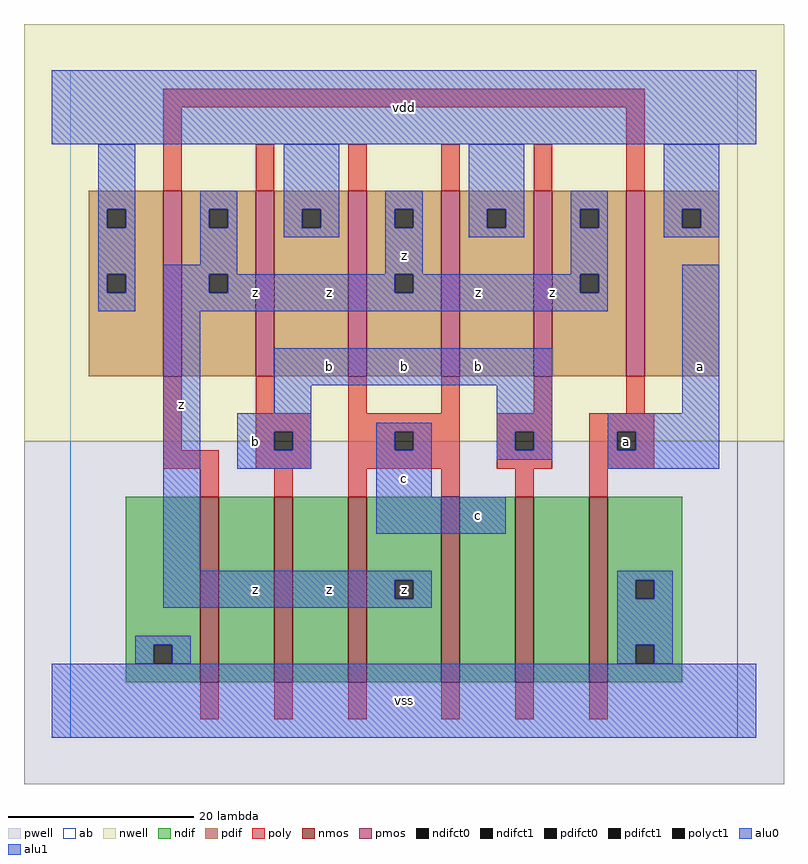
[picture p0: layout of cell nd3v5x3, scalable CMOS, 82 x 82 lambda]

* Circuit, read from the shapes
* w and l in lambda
.subckt nd3v5x3 a b c vdd vss z
M1 n1 a vss VSUBS nfet w=20 l=2
M2 n2 b n1 VSUBS nfet w=20 l=2
M3 z c n2 VSUBS nfet w=20 l=2
M4 n3 c z VSUBS nfet w=20 l=2
M5 n4 b n3 VSUBS nfet w=20 l=2
M6 vss a n4 VSUBS nfet w=20 l=2
M7 z a vdd n5 pfet w=20 l=2 m=2
M8 vdd b z n5 pfet w=20 l=2 m=2
M9 z c vdd n5 pfet w=20 l=2 m=2
.ends

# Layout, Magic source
magic
tech scmos
<< ab >>
rect 0 0 72 72
<< nwell >>
rect -5 32 77 77
<< pwell >>
rect -5 -5 77 32
<< poly >>
rect 10 68 62 70
rect 10 59 12 68
rect 20 59 22 64
rect 30 59 32 64
rect 40 59 42 64
rect 50 59 52 64
rect 60 59 62 68
rect 10 31 12 39
rect 20 35 22 39
rect 30 35 32 39
rect 40 35 42 39
rect 50 35 52 39
rect 60 35 62 39
rect 20 33 26 35
rect 20 31 22 33
rect 24 31 26 33
rect 10 29 16 31
rect 20 29 26 31
rect 30 33 42 35
rect 30 31 35 33
rect 37 31 42 33
rect 30 29 42 31
rect 46 33 52 35
rect 46 31 48 33
rect 50 31 52 33
rect 46 29 52 31
rect 56 33 63 35
rect 56 31 59 33
rect 61 31 63 33
rect 56 29 63 31
rect 14 26 16 29
rect 22 26 24 29
rect 30 26 32 29
rect 40 26 42 29
rect 48 26 50 29
rect 56 26 58 29
rect 14 2 16 6
rect 22 2 24 6
rect 30 2 32 6
rect 40 2 42 6
rect 48 2 50 6
rect 56 2 58 6
<< ndif >>
rect 6 10 14 26
rect 6 8 9 10
rect 11 8 14 10
rect 6 6 14 8
rect 16 6 22 26
rect 24 6 30 26
rect 32 17 40 26
rect 32 15 35 17
rect 37 15 40 17
rect 32 6 40 15
rect 42 6 48 26
rect 50 6 56 26
rect 58 17 66 26
rect 58 15 61 17
rect 63 15 66 17
rect 58 10 66 15
rect 58 8 61 10
rect 63 8 66 10
rect 58 6 66 8
<< pdif >>
rect 2 57 10 59
rect 2 55 4 57
rect 6 55 10 57
rect 2 50 10 55
rect 2 48 4 50
rect 6 48 10 50
rect 2 39 10 48
rect 12 57 20 59
rect 12 55 15 57
rect 17 55 20 57
rect 12 50 20 55
rect 12 48 15 50
rect 17 48 20 50
rect 12 39 20 48
rect 22 57 30 59
rect 22 55 25 57
rect 27 55 30 57
rect 22 39 30 55
rect 32 57 40 59
rect 32 55 35 57
rect 37 55 40 57
rect 32 50 40 55
rect 32 48 35 50
rect 37 48 40 50
rect 32 39 40 48
rect 42 57 50 59
rect 42 55 45 57
rect 47 55 50 57
rect 42 39 50 55
rect 52 57 60 59
rect 52 55 55 57
rect 57 55 60 57
rect 52 50 60 55
rect 52 48 55 50
rect 57 48 60 50
rect 52 39 60 48
rect 62 57 70 59
rect 62 55 66 57
rect 68 55 70 57
rect 62 39 70 55
<< alu1 >>
rect -2 64 74 72
rect 14 57 18 59
rect 14 55 15 57
rect 17 55 18 57
rect 14 51 18 55
rect 34 57 38 59
rect 34 55 35 57
rect 37 55 38 57
rect 10 50 18 51
rect 34 50 38 55
rect 54 57 58 59
rect 54 55 55 57
rect 57 55 58 57
rect 54 50 58 55
rect 10 48 15 50
rect 17 48 35 50
rect 37 48 55 50
rect 57 48 58 50
rect 10 46 58 48
rect 10 18 14 46
rect 22 38 52 42
rect 22 35 26 38
rect 18 33 26 35
rect 18 31 22 33
rect 24 31 26 33
rect 18 29 26 31
rect 33 33 39 34
rect 33 31 35 33
rect 37 31 39 33
rect 33 26 39 31
rect 46 33 52 38
rect 66 35 70 51
rect 46 31 48 33
rect 50 31 52 33
rect 46 30 52 31
rect 58 33 70 35
rect 58 31 59 33
rect 61 31 70 33
rect 58 29 70 31
rect 33 22 47 26
rect 10 17 39 18
rect 10 15 35 17
rect 37 15 39 17
rect 10 14 39 15
rect -2 0 74 8
<< nmos >>
rect 14 6 16 26
rect 22 6 24 26
rect 30 6 32 26
rect 40 6 42 26
rect 48 6 50 26
rect 56 6 58 26
<< pmos >>
rect 10 39 12 59
rect 20 39 22 59
rect 30 39 32 59
rect 40 39 42 59
rect 50 39 52 59
rect 60 39 62 59
<< polyct1 >>
rect 22 31 24 33
rect 35 31 37 33
rect 48 31 50 33
rect 59 31 61 33
<< ndifct0 >>
rect 9 8 11 10
rect 61 15 63 17
rect 61 8 63 10
<< ndifct1 >>
rect 35 15 37 17
<< pdifct0 >>
rect 4 55 6 57
rect 4 48 6 50
rect 25 55 27 57
rect 45 55 47 57
rect 66 55 68 57
<< pdifct1 >>
rect 15 55 17 57
rect 15 48 17 50
rect 35 55 37 57
rect 35 48 37 50
rect 55 55 57 57
rect 55 48 57 50
<< alu0 >>
rect 3 57 7 64
rect 3 55 4 57
rect 6 55 7 57
rect 3 50 7 55
rect 23 57 29 64
rect 23 55 25 57
rect 27 55 29 57
rect 23 54 29 55
rect 3 48 4 50
rect 6 48 7 50
rect 3 46 7 48
rect 43 57 49 64
rect 43 55 45 57
rect 47 55 49 57
rect 43 54 49 55
rect 64 57 70 64
rect 64 55 66 57
rect 68 55 70 57
rect 64 54 70 55
rect 59 17 65 18
rect 59 15 61 17
rect 63 15 65 17
rect 7 10 13 11
rect 7 8 9 10
rect 11 8 13 10
rect 59 10 65 15
rect 59 8 61 10
rect 63 8 65 10
<< labels >>
rlabel alu1 12 36 12 36 6 z
rlabel alu1 28 16 28 16 6 z
rlabel alu1 20 16 20 16 6 z
rlabel alu1 20 32 20 32 6 b
rlabel alu1 28 40 28 40 6 b
rlabel alu1 20 48 20 48 6 z
rlabel alu1 28 48 28 48 6 z
rlabel alu1 36 4 36 4 6 vss
rlabel ndifct1 36 16 36 16 6 z
rlabel alu1 36 28 36 28 6 c
rlabel alu1 44 24 44 24 6 c
rlabel alu1 44 40 44 40 6 b
rlabel alu1 36 40 36 40 6 b
rlabel alu1 36 52 36 52 6 z
rlabel alu1 52 48 52 48 6 z
rlabel alu1 44 48 44 48 6 z
rlabel alu1 36 68 36 68 6 vdd
rlabel polyct1 60 32 60 32 6 a
rlabel alu1 68 40 68 40 6 a
<< end >>
